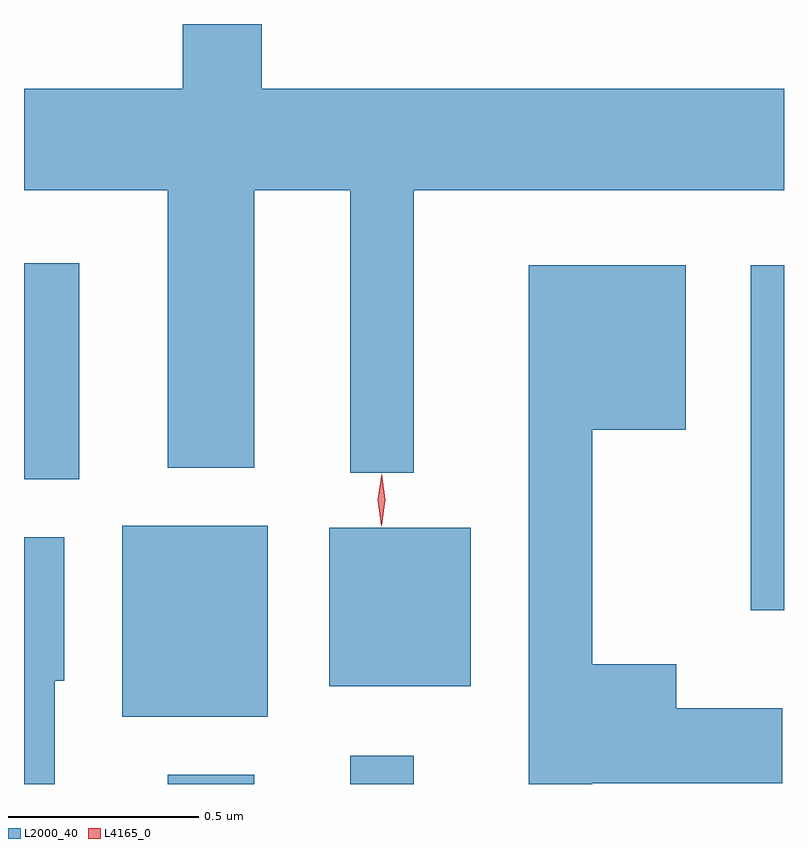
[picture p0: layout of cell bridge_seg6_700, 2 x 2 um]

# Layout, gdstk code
import gdstk
lib = gdstk.Library(unit=1e-6, precision=1e-09)
def R(c, l, rs):  # rectangles x0, y0, x1, y1
    for r in rs: c.add(gdstk.rectangle(r[:2], r[2:], *l))
def P(c, l, *ps):  # polygons
    for p in ps: c.add(gdstk.Polygon(p, *l))
L2000_40 = (2000, 40)
L4165_0 = (4165, 0)

bridge_seg6_700 = lib.new_cell('bridge_seg6_700')
R(bridge_seg6_700, L2000_40, [(240.401,1655.034,240.629,1655.059), (240.881,1655.034,241.049,1655.108), (240.281,1655.211,240.664,1655.714), (240.826,1655.291,241.199,1655.709), (241.936,1655.491,242.023,1656.399), (240.023,1655.836,240.169,1656.404)])
P(bridge_seg6_700, L2000_40, [(241.049,1656.596),(242.023,1656.596),(242.023,1656.864),(240.649,1656.864),(240.649,1657.034),(240.441,1657.034),(240.441,1656.864),(240.023,1656.864),(240.023,1656.596),(240.401,1656.596),(240.401,1655.866),(240.629,1655.866),(240.629,1656.596),(240.881,1656.596),(240.881,1655.853),(241.049,1655.853)],
  [(241.519,1655.036),(242.019,1655.036),(242.019,1655.234),(241.739,1655.234),(241.739,1655.349),(241.519,1655.349),(241.519,1655.966),(241.764,1655.966),(241.764,1656.399),(241.351,1656.399),(241.351,1655.034),(241.519,1655.034)],
  [(240.104,1655.306),(240.129,1655.306),(240.129,1655.684),(240.023,1655.684),(240.023,1655.034),(240.104,1655.034)])
P(bridge_seg6_700, L4165_0, [(240.963,1655.718),(240.963,1655.719),(240.954,1655.783),(240.964,1655.846),(240.965,1655.847),(240.965,1655.846),(240.974,1655.782),(240.964,1655.719)],
  [(240.963,1655.714),(240.954,1655.782),(240.964,1655.85),(240.965,1655.85),(240.965,1655.85),(240.974,1655.782),(240.964,1655.714),(240.964,1655.714)])

lib.write_gds('bridge_seg6_700.gds')
